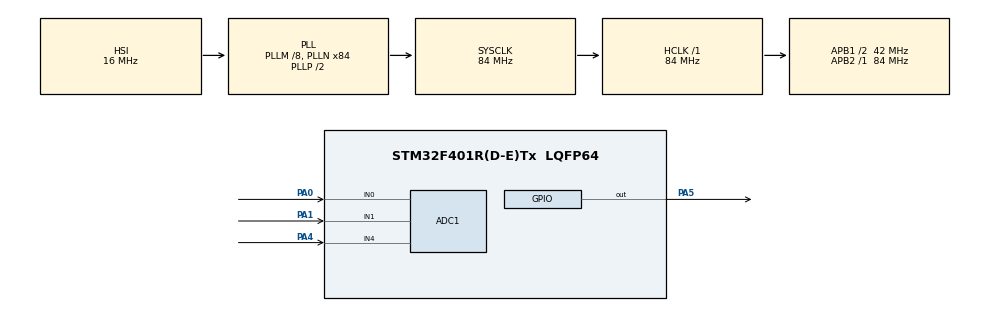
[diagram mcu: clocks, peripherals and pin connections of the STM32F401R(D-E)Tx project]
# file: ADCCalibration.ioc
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ADC1.Channel-0\#ChannelRegularConversion=ADC_CHANNEL_0
ADC1.NbrOfConversionFlag=1
ADC1.Rank-0\#ChannelRegularConversion=1
ADC1.SamplingTime-0\#ChannelRegularConversion=ADC_SAMPLETIME_3CYCLES
ADC1.master=1
Mcu.Family=STM32F4
Mcu.Name=STM32F401R(D-E)Tx
Mcu.Package=LQFP64
NVIC.PriorityGroup=NVIC_PRIORITYGROUP_4
PA0-WKUP.Signal=ADCx_IN0
PA1.Signal=ADCx_IN1
PA4.Signal=ADCx_IN4
PA5.Signal=GPIO_Output
ProjectManager.HeapSize=0x200
ProjectManager.StackSize=0x400
ProjectManager.TargetToolchain=STM32CubeIDE
RCC.48MHZClocksFreq_Value=42000000
RCC.AHBFreq_Value=84000000
RCC.APB1CLKDivider=RCC_HCLK_DIV2
RCC.APB1Freq_Value=42000000
RCC.APB1TimFreq_Value=84000000
RCC.APB2Freq_Value=84000000
RCC.APB2TimFreq_Value=84000000
RCC.CortexFreq_Value=84000000
RCC.HCLKFreq_Value=84000000
RCC.HSE_VALUE=25000000
RCC.HSI_VALUE=16000000
RCC.LSE_VALUE=32768
RCC.PLLM=8
RCC.PLLN=84
RCC.SYSCLKFreq_VALUE=84000000
RCC.SYSCLKSource=RCC_SYSCLKSOURCE_PLLCLK
RCC.VCOOutputFreq_Value=168000000
SH.ADCx_IN0.0=ADC1_IN0,IN0
SH.ADCx_IN1.0=ADC1_IN1,IN1
SH.ADCx_IN4.0=ADC1_IN4,IN4
board=custom

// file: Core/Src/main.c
/* USER CODE BEGIN Header */
/**
  ******************************************************************************
  * @file           : main.c
  * @brief          : Main program body
  ******************************************************************************
  * @attention
  *
  * <h2><center>&copy; Copyright (c) 2019 STMicroelectronics.
  * All rights reserved.</center></h2>
  *
  * This software component is licensed by ST under BSD 3-Clause license,
  * the "License"; You may not use this file except in compliance with the
  * License. You may obtain a copy of the License at:
  *                        opensource.org/licenses/BSD-3-Clause
  *
  ******************************************************************************
  */
/* USER CODE END Header */
#include "main.h"

ADC_HandleTypeDef hadc1;

void SystemClock_Config(void);
static void MX_GPIO_Init(void);
static void MX_ADC1_Init(void);

/* USER CODE BEGIN 0 */
uint32_t OffsetAcc = 0;
uint32_t GainAcc = 0;
uint32_t ADCValue;
float V;
/* USER CODE END 0 */

int main(void)
{
  /* USER CODE BEGIN 1 */
	ADC_ChannelConfTypeDef sConfig = {0};
  /* USER CODE END 1 */

  /* MCU Configuration--------------------------------------------------------*/

  /* Reset of all peripherals, Initializes the Flash interface and the Systick. */
  HAL_Init();

  /* Configure the system clock */
  SystemClock_Config();

  /* Initialize all configured peripherals */
  MX_GPIO_Init();
  MX_ADC1_Init();
  /* USER CODE BEGIN 2 */

  // Get Offset Accuracy
  // GND connect with ADC_IN0
  // Init sConfig for ADC_IN0 is in MX_ADC1_Init
  HAL_ADC_Start(&hadc1);
  HAL_ADC_PollForConversion(&hadc1,1000);
  OffsetAcc = HAL_ADC_GetValue(&hadc1);
  HAL_ADC_Stop(&hadc1);
  hadc1.Instance->SQR1 = 0;

  // Get Gain Accuracy
  // Vdd connect with ADC_IN1
  sConfig.Channel = ADC_CHANNEL_1;
  sConfig.Rank = 1;
  sConfig.SamplingTime = ADC_SAMPLETIME_3CYCLES;
  HAL_ADC_ConfigChannel(&hadc1, &sConfig);
  HAL_ADC_Start(&hadc1);
  HAL_ADC_PollForConversion(&hadc1,1000);
  GainAcc = HAL_ADC_GetValue(&hadc1);
  HAL_ADC_Stop(&hadc1);
  hadc1.Instance->SQR1 = 0;

  // Get ADC and convert to calibrated value
  // I connect the ADC port with ADC_IN4
  sConfig.Channel = ADC_CHANNEL_4;
  sConfig.Rank = 1;
  sConfig.SamplingTime = ADC_SAMPLETIME_3CYCLES;
  HAL_ADC_ConfigChannel(&hadc1, &sConfig);

  /* USER CODE END 2 */

  /* Infinite loop */
  while (1)
  {

    /* USER CODE BEGIN 3 */
	  // Get ADC Value
	  HAL_ADC_Start(&hadc1);
	  HAL_ADC_PollForConversion(&hadc1,1000);
	  ADCValue = HAL_ADC_GetValue(&hadc1);
	  HAL_ADC_Stop(&hadc1);

	  // Get calibrated Voltage
	  V = 3.3F*((float)ADCValue - (float)OffsetAcc)/((float)GainAcc - (float)OffsetAcc);
	  __NOP();
  }
  /* USER CODE END 3 */
}

void SystemClock_Config(void)
{
  RCC_OscInitTypeDef RCC_OscInitStruct = {0};
  RCC_ClkInitTypeDef RCC_ClkInitStruct = {0};

  /** Configure the main internal regulator output voltage
  */
  __HAL_RCC_PWR_CLK_ENABLE();
  __HAL_PWR_VOLTAGESCALING_CONFIG(PWR_REGULATOR_VOLTAGE_SCALE2);
  /** Initializes the RCC Oscillators according to the specified parameters
  * in the RCC_OscInitTypeDef structure.
  */
  RCC_OscInitStruct.OscillatorType = RCC_OSCILLATORTYPE_HSI;
  RCC_OscInitStruct.HSIState = RCC_HSI_ON;
  RCC_OscInitStruct.HSICalibrationValue = RCC_HSICALIBRATION_DEFAULT;
  RCC_OscInitStruct.PLL.PLLState = RCC_PLL_ON;
  RCC_OscInitStruct.PLL.PLLSource = RCC_PLLSOURCE_HSI;
  RCC_OscInitStruct.PLL.PLLM = 8;
  RCC_OscInitStruct.PLL.PLLN = 84;
  RCC_OscInitStruct.PLL.PLLP = RCC_PLLP_DIV2;
  RCC_OscInitStruct.PLL.PLLQ = 4;
  if (HAL_RCC_OscConfig(&RCC_OscInitStruct) != HAL_OK)
  {
    Error_Handler();
  }
  /** Initializes the CPU, AHB and APB buses clocks
  */
  RCC_ClkInitStruct.ClockType = RCC_CLOCKTYPE_HCLK|RCC_CLOCKTYPE_SYSCLK
                              |RCC_CLOCKTYPE_PCLK1|RCC_CLOCKTYPE_PCLK2;
  RCC_ClkInitStruct.SYSCLKSource = RCC_SYSCLKSOURCE_PLLCLK;
  RCC_ClkInitStruct.AHBCLKDivider = RCC_SYSCLK_DIV1;
  RCC_ClkInitStruct.APB1CLKDivider = RCC_HCLK_DIV2;
  RCC_ClkInitStruct.APB2CLKDivider = RCC_HCLK_DIV1;

  if (HAL_RCC_ClockConfig(&RCC_ClkInitStruct, FLASH_LATENCY_2) != HAL_OK)
  {
    Error_Handler();
  }
}

static void MX_ADC1_Init(void)
{

  ADC_ChannelConfTypeDef sConfig = {0};

  /** Configure the global features of the ADC (Clock, Resolution, Data Alignment and number of conversion)
  */
  hadc1.Instance = ADC1;
  hadc1.Init.ClockPrescaler = ADC_CLOCK_SYNC_PCLK_DIV4;
  hadc1.Init.Resolution = ADC_RESOLUTION_12B;
  hadc1.Init.ScanConvMode = DISABLE;
  hadc1.Init.ContinuousConvMode = DISABLE;
  hadc1.Init.DiscontinuousConvMode = DISABLE;
  hadc1.Init.ExternalTrigConvEdge = ADC_EXTERNALTRIGCONVEDGE_NONE;
  hadc1.Init.ExternalTrigConv = ADC_SOFTWARE_START;
  hadc1.Init.DataAlign = ADC_DATAALIGN_RIGHT;
  hadc1.Init.NbrOfConversion = 1;
  hadc1.Init.DMAContinuousRequests = DISABLE;
  hadc1.Init.EOCSelection = ADC_EOC_SINGLE_CONV;
  if (HAL_ADC_Init(&hadc1) != HAL_OK)
  {
    Error_Handler();
  }
  /** Configure for the selected ADC regular channel its corresponding rank in the sequencer and its sample time.
  */
  sConfig.Channel = ADC_CHANNEL_0;
  sConfig.Rank = 1;
  sConfig.SamplingTime = ADC_SAMPLETIME_3CYCLES;
  if (HAL_ADC_ConfigChannel(&hadc1, &sConfig) != HAL_OK)
  {
    Error_Handler();
  }

}

static void MX_GPIO_Init(void)
{
  GPIO_InitTypeDef GPIO_InitStruct = {0};

  /* GPIO Ports Clock Enable */
  __HAL_RCC_GPIOA_CLK_ENABLE();

  /*Configure GPIO pin Output Level */
  HAL_GPIO_WritePin(GPIOA, GPIO_PIN_5, GPIO_PIN_RESET);

  /*Configure GPIO pin : PA5 */
  GPIO_InitStruct.Pin = GPIO_PIN_5;
  GPIO_InitStruct.Mode = GPIO_MODE_OUTPUT_PP;
  GPIO_InitStruct.Pull = GPIO_NOPULL;
  GPIO_InitStruct.Speed = GPIO_SPEED_FREQ_LOW;
  HAL_GPIO_Init(GPIOA, &GPIO_InitStruct);

}

void Error_Handler(void)
{
}

/************************ (C) COPYRIGHT STMicroelectronics *****END OF FILE****/
